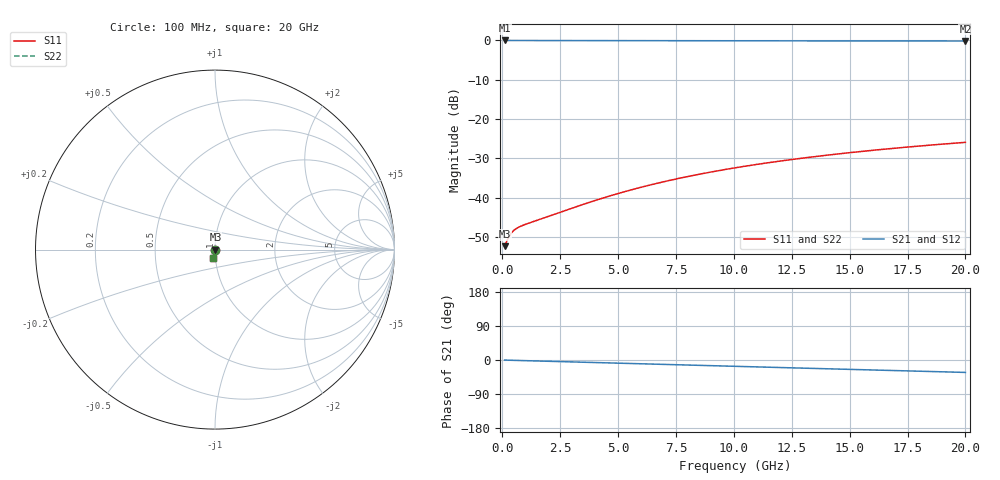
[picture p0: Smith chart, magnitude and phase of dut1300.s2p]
! Touchstone file exported from HFSS 2026.1.0
!  File:  C:/ffzhzh/LocalFiles/Ansys_Project_Files/temp_train_BSMRDL_1300_1783178176_22436.aedt
!  Generated:  11:17:23 PM Jul  4, 2026
!  Design:  BSMRDL
!  Project:  temp_train_BSMRDL_1300_1783178176_22436
! Variables:
!  h_bsmrdl = 3.43um
!  h_ox = 20um
!  h_rdl = 5um
!  h_sub = 80um
!  h_tmrdl = 5um
!  h_tsv = 80um
!  h_via = 3um
!  l_bsmrdl = 575.23um
!  l_sub = 975.23um
!  l_tmrdl = 200um
!  m_sub = 200um
!  pitch = 33.17um
!  r_tsv = 6um
!  s_tmrdl = 10um
!  w_bsmrdl = 29.6um
!  w_sub = 500um
!  w_tmrdl = 12um
!  x_tsv_center1 = 206um
!  x_tsv_center2 = 810.83um
!  x_tsv_center3 = 1022.83um
!  x_tsv_center4 = 1627.66um
!  x_tsv_center5 = 1839.66um
!  x_tsv_center6 = 2444.49um
# GHz S MA R 50.000000
! Terminal data exported
! Port[1] = BSM_RDL1_1_T1
! Port[2] = BSM_RDL1_1_T2
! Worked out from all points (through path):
!   200 points, 100 MHz to 20 GHz, reference 50 ohm
!   highest |S21| = -0.02 dB at 100 MHz (marker M1); lowest = -0.2 dB at 20 GHz (marker M2)
!   group delay of S21, straight-line fit = 4.54 ps
!   lowest |S11| = -52.3 dB at 100 MHz (marker M3), VSWR 1.00, Z = 50.2 + j0.0447 ohm
!   |S11| at or under -10 dB: start of sweep to end of sweep
!   |S22| runs from -52.3 to -25.9 dB; largest |S21 - S12| = 4.4e-15
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0.1  0.002418 10.6  0.9976 -0.2  0.9976 -0.2  0.002418 10.6
! Gamma 0 0 0 0
! Port Impedance 50 0 50 0
0.2  0.002836 14.3  0.9973 -0.4  0.9973 -0.4  0.002836 14.3
0.3  0.00325 13.1  0.9968 -0.6  0.9968 -0.6  0.00325 13.1
0.4  0.003584 9.9  0.9965 -0.8  0.9965 -0.8  0.003584 9.9
0.5  0.003839 6.2  0.9962 -0.9  0.9962 -0.9  0.003839 6.2
0.6  0.004039 2.6  0.996 -1.1  0.996 -1.1  0.004039 2.6
0.7  0.004201 -0.9  0.9958 -1.3  0.9958 -1.3  0.004201 -0.9
0.9  0.004465 -7.1  0.9955 -1.6  0.9955 -1.6  0.004465 -7.1
1.1  0.004695 -12.5  0.9954 -1.9  0.9954 -1.9  0.004695 -12.5
3.5  0.008228 -47.4  0.9938 -5.9  0.9938 -5.9  0.008226 -47.4
4.3  0.0098 -53.3  0.9932 -7.3  0.9932 -7.3  0.009797 -53.4
5.1  0.01152 -58.1  0.9925 -8.6  0.9925 -8.6  0.01151 -58.2
5.9  0.01335 -62.2  0.9917 -9.9  0.9917 -9.9  0.01334 -62.2
6.8  0.01552 -66.1  0.9909 -11.4  0.9909 -11.4  0.01551 -66.2
8.4  0.01958 -72.3  0.9894 -14.0  0.9894 -14.0  0.01958 -72.4
10.1  0.02408 -77.9  0.988 -16.8  0.988 -16.8  0.02407 -78.0
11.7  0.0284 -82.7  0.9867 -19.4  0.9867 -19.4  0.02839 -82.9
13.4  0.03301 -87.4  0.9854 -22.1  0.9854 -22.1  0.033 -87.6
15  0.03734 -91.5  0.9842 -24.7  0.9842 -24.7  0.03732 -91.7
16.7  0.04189 -95.7  0.983 -27.5  0.983 -27.5  0.04188 -95.9
18.3  0.04612 -99.3  0.9819 -30.0  0.9819 -30.0  0.0461 -99.6
20  0.05052 -103.1  0.9808 -32.8  0.9808 -32.8  0.0505 -103.3
